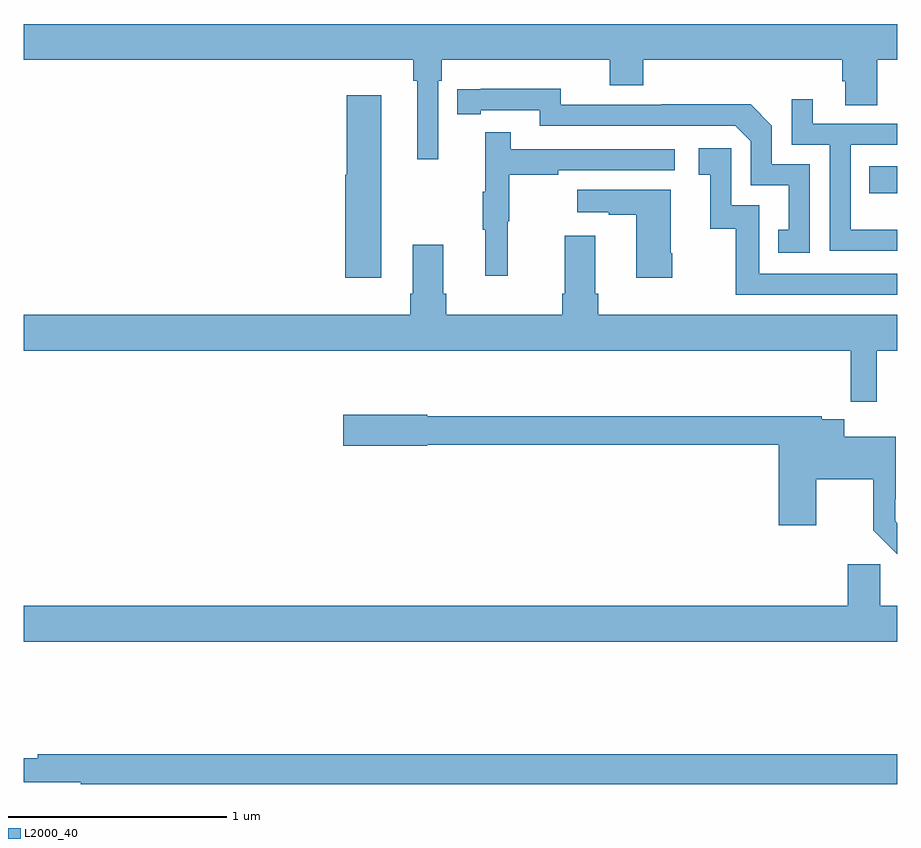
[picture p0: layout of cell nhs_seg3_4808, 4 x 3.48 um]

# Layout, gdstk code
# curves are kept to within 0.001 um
import gdstk
lib = gdstk.Library(unit=1e-6, precision=1e-09)
def R(c, l, rs):  # rectangles x0, y0, x1, y1
    for r in rs: c.add(gdstk.rectangle(r[:2], r[2:], *l))
def P(c, l, *ps):  # polygons
    for p in ps: c.add(gdstk.Polygon(p, *l))
L2000_40 = (2000, 40)

nhs_seg3_4808 = lib.new_cell('nhs_seg3_4808')
R(nhs_seg3_4808, L2000_40, [(372.871,737.601,373,737.724)])
P(nhs_seg3_4808, L2000_40, [(370.899,738.116),(370.913,738.116),(370.913,738.212),(371.684,738.212),(371.684,738.095),(371.837,738.095),(371.837,738.212),(372.749,738.212),(372.749,738.114),(372.761,738.114),(372.761,738.004),(372.909,738.004),(372.909,738.212),(373,738.212),(373,738.376),(369,738.376),(369,738.212),(370.783,738.212),(370.783,738.116),(370.802,738.116),(370.802,737.757),(370.899,737.757)],
  [(372.6,737.733),(372.426,737.733),(372.426,737.91),(372.328,738.008),(371.92,738.008),(371.92,738.006),(371.46,738.006),(371.46,738.079),(370.984,738.078),(370.984,737.962),(371.092,737.962),(371.092,737.982),(371.364,737.982),(371.364,737.91),(372.258,737.91),(372.33,737.838),(372.33,737.637),(372.503,737.637),(372.503,737.433),(372.454,737.433),(372.454,737.328),(372.6,737.328)],
  [(370.636,738.049),(370.478,738.049),(370.478,737.685),(370.472,737.685),(370.472,737.214),(370.636,737.214)],
  [(373,737.434),(372.786,737.434),(372.786,737.823),(373,737.823),(373,737.919),(372.613,737.919),(372.613,738.031),(372.516,738.031),(372.516,737.823),(372.69,737.823),(372.69,737.337),(373,737.337)],
  [(371.216,737.472),(371.224,737.472),(371.224,737.686),(371.447,737.686),(371.447,737.706),(371.98,737.706),(371.98,737.802),(371.231,737.802),(371.231,737.881),(371.114,737.881),(371.114,737.609),(371.103,737.609),(371.103,737.435),(371.114,737.435),(371.114,737.223),(371.216,737.223)],
  [(373,737.232),(372.369,737.232),(372.369,737.547),(372.24,737.547),(372.24,737.806),(372.09,737.806),(372.09,737.685),(372.143,737.685),(372.143,737.439),(372.261,737.439),(372.261,737.136),(373,737.136)],
  [(371.97,737.326),(371.962,737.326),(371.962,737.617),(371.535,737.617),(371.535,737.513),(371.678,737.513),(371.678,737.503),(371.804,737.503),(371.804,737.214),(371.97,737.214)],
  [(372.905,736.88),(373,736.88),(373,737.044),(371.63,737.044),(371.63,737.14),(371.617,737.14),(371.617,737.407),(371.477,737.407),(371.477,737.14),(371.465,737.14),(371.465,737.044),(370.934,737.044),(370.934,737.14),(370.921,737.14),(370.921,737.365),(370.781,737.365),(370.781,737.14),(370.769,737.14),(370.769,737.044),(369,737.044),(369,736.88),(372.787,736.88),(372.787,736.647),(372.905,736.647)],
  [(373,736.091),(372.99,736.101),(372.99,736.201),(372.993,736.201),(372.993,736.486),(372.757,736.486),(372.757,736.567),(372.653,736.567),(372.653,736.579),(370.848,736.579),(370.848,736.587),(370.464,736.587),(370.464,736.445),(370.848,736.445),(370.848,736.45),(372.458,736.45),(372.458,736.08),(372.628,736.08),(372.628,736.292),(372.89,736.292),(372.89,736.058),(373,735.948)],
  [(373,735.712),(372.923,735.712),(372.923,735.903),(372.773,735.903),(372.773,735.712),(369,735.712),(369,735.548),(373,735.548)],
  [(373,735.032),(369.064,735.032),(369.064,735.013),(369,735.013),(369,734.904),(369.262,734.904),(369.262,734.896),(373,734.896)])

lib.write_gds('nhs_seg3_4808.gds')
